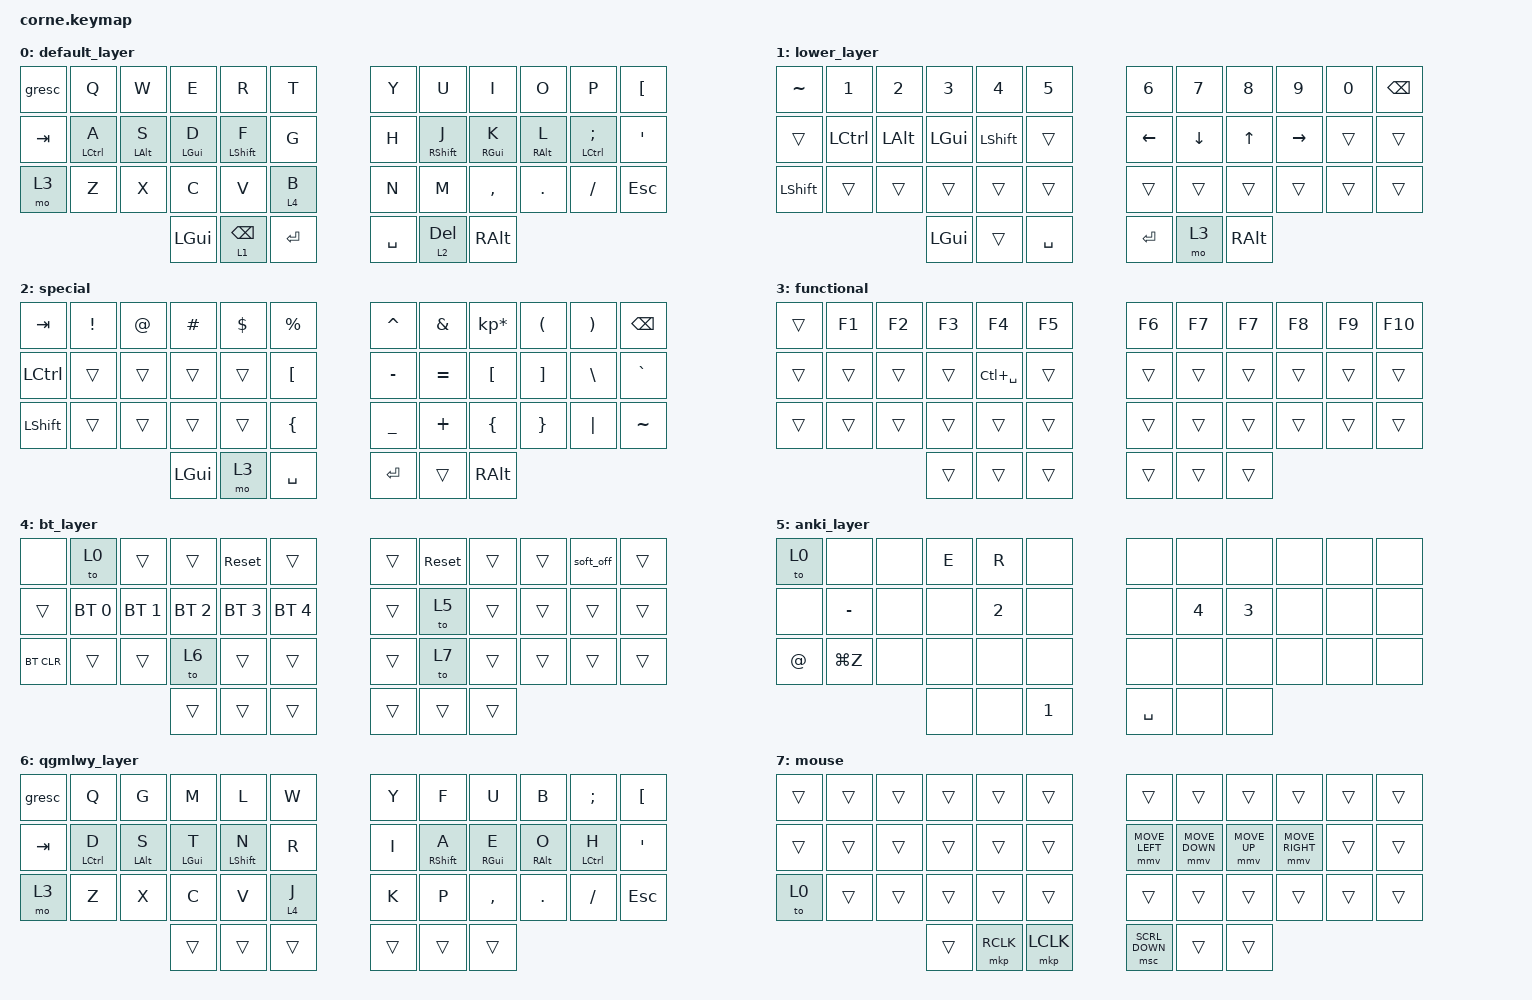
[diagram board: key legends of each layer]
/*
 * Copyright (c) 2020 The ZMK Contributors
 *
 * SPDX-License-Identifier: MIT
 */

#define ZMK_POINTING_DEFAULT_MOVE_VAL 600
#define ZMK_POINTING_DEFAULT_SCRL_VAL 10

#include <behaviors.dtsi>
#include <dt-bindings/zmk/bt.h>
#include <dt-bindings/zmk/keys.h>
#include <dt-bindings/zmk/pointing.h>
/*
online visual editor
https://nickcoutsos.github.io/keymap-editor/
*/
/*

Information about tapinng and holding
https://zmk.dev/docs/behaviors/hold-tap

&ht_bl LSHIFT F
&ht_tp


https://zmk.dev/docs/behaviors/layers#layer-tap
lt

*/
/*
here I define hm. This is howrow mods it has tap preferred flovor, that means
that even if another key presed meanwhile this one on hold it will prefer tap
untill the tapping-term-ms
*/

/ {
    behaviors {
        hm: homerow_mods {
            compatible = "zmk,behavior-hold-tap";
            label = "homerow mods";
            #binding-cells = <2>;
            tapping-term-ms = <225>;
            flavor = "tap-preferred";
            bindings = <&kp>, <&kp>;
        };
    };
};

/ {
    keymap {
        compatible = "zmk,keymap";

        default_layer {
            bindings = <
&gresc   &kp Q        &kp W       &kp E       &kp R         &kp T      &kp Y      &kp U         &kp I       &kp O       &kp P           &kp LEFT_BRACKET
&kp TAB  &hm LCTRL A  &hm LALT S  &hm LGUI D  &hm LSHIFT F  &kp G      &kp H      &hm RSHIFT J  &hm RGUI K  &hm RALT L  &hm LCTRL SEMI  &kp SQT
&mo 3    &kp Z        &kp X       &kp C       &kp V         &lt 4 B    &kp N      &kp M         &kp COMMA   &kp DOT     &kp FSLH        &kp ESC
                                  &kp LGUI    &lt 1 BSPC    &kp RET    &kp SPACE  &lt 2 DEL     &kp RALT
            >;
        };

        lower_layer {
            bindings = <
&kp TILDE  &kp N1     &kp N2    &kp N3    &kp N4      &kp N5       &kp N6    &kp N7    &kp N8    &kp N9     &kp N0  &kp BSPC
&trans     &kp LCTRL  &kp LALT  &kp LGUI  &kp LSHIFT  &trans       &kp LEFT  &kp DOWN  &kp UP    &kp RIGHT  &trans  &trans
&kp LSHFT  &trans     &trans    &trans    &trans      &trans       &trans    &trans    &trans    &trans     &trans  &trans
                                &kp LGUI  &trans      &kp SPACE    &kp RET   &mo 3     &kp RALT
            >;
        };

        special {
            bindings = <
&kp TAB    &kp EXCL  &kp AT  &kp HASH  &kp DLLR  &kp PRCNT           &kp CARET  &kp AMPS   &kp KP_MULTIPLY  &kp LPAR  &kp RPAR  &kp BSPC
&kp LCTRL  &trans    &trans  &trans    &trans    &kp LEFT_BRACKET    &kp MINUS  &kp EQUAL  &kp LBKT         &kp RBKT  &kp BSLH  &kp GRAVE
&kp LSHFT  &trans    &trans  &trans    &trans    &kp LEFT_BRACE      &kp UNDER  &kp PLUS   &kp LBRC         &kp RBRC  &kp PIPE  &kp TILDE
                             &kp LGUI  &mo 3     &kp SPACE           &kp RET    &trans     &kp RALT
            >;
        };

        functional {
            bindings = <
&trans  &kp F1  &kp F2  &kp F3  &kp F4         &kp F5    &kp F6  &kp F7  &kp F7  &kp F8  &kp F9  &kp F10
&trans  &trans  &trans  &trans  &kp LC(SPACE)  &trans    &trans  &trans  &trans  &trans  &trans  &trans
&trans  &trans  &trans  &trans  &trans         &trans    &trans  &trans  &trans  &trans  &trans  &trans
                        &trans  &trans         &trans    &trans  &trans  &trans
            >;
        };

        bt_layer {
            bindings = <
&none       &to 0         &trans        &trans        &sys_reset    &trans          &trans  &sys_reset  &trans  &trans  &soft_off  &trans
&trans      &bt BT_SEL 0  &bt BT_SEL 1  &bt BT_SEL 2  &bt BT_SEL 3  &bt BT_SEL 4    &trans  &to 5       &trans  &trans  &trans     &trans
&bt BT_CLR  &trans        &trans        &to 6         &trans        &trans          &trans  &to 7       &trans  &trans  &trans     &trans
                                        &trans        &trans        &trans          &trans  &trans      &trans
            >;
        };

        anki_layer {
            bindings = <
&to 0        &none      &none  &kp E  &kp R   &none     &none      &none   &none   &none  &none  &none
&none        &kp MINUS  &none  &none  &kp N2  &none     &none      &kp N4  &kp N3  &none  &none  &none
&kp AT_SIGN  &kp LG(Z)  &none  &none  &none   &none     &none      &none   &none   &none  &none  &none
                               &none  &none   &kp N1    &kp SPACE  &none   &none
            >;
        };

        qgmlwy_layer {
            bindings = <
&gresc   &kp Q        &kp G       &kp M       &kp L         &kp W      &kp Y   &kp F         &kp U       &kp B       &kp SEMI     &kp LEFT_BRACKET
&kp TAB  &hm LCTRL D  &hm LALT S  &hm LGUI T  &hm LSHIFT N  &kp R      &kp I   &hm RSHIFT A  &hm RGUI E  &hm RALT O  &hm LCTRL H  &kp SQT
&mo 3    &kp Z        &kp X       &kp C       &kp V         &lt 4 J    &kp K   &kp P         &kp COMMA   &kp DOT     &kp FSLH     &kp ESC
                                  &trans      &trans        &trans     &trans  &trans        &trans
            >;
        };

        mouse {
            bindings = <
&trans  &trans  &trans  &trans  &trans     &trans       &trans          &trans          &trans        &trans           &trans  &trans
&trans  &trans  &trans  &trans  &trans     &trans       &mmv MOVE_LEFT  &mmv MOVE_DOWN  &mmv MOVE_UP  &mmv MOVE_RIGHT  &trans  &trans
&to 0   &trans  &trans  &trans  &trans     &trans       &trans          &trans          &trans        &trans           &trans  &trans
                        &trans  &mkp RCLK  &mkp LCLK    &msc SCRL_DOWN  &trans          &trans
            >;
        };
    };
};

